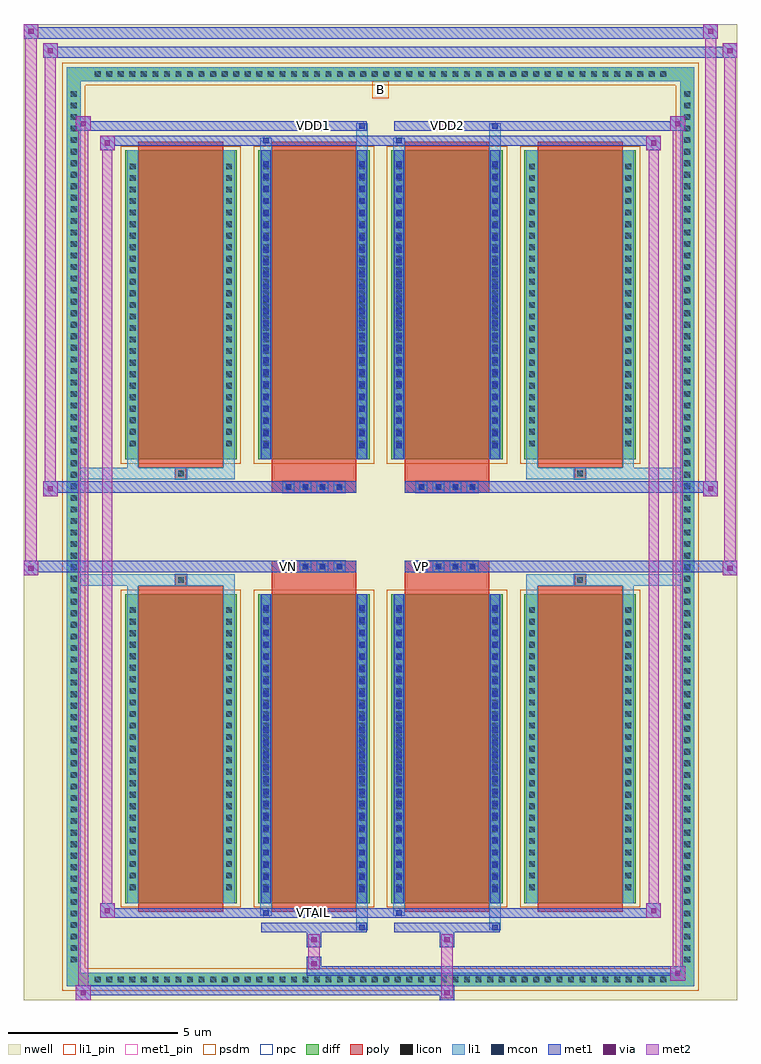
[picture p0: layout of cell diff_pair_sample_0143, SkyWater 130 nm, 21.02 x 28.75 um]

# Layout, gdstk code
import gdstk
lib = gdstk.Library(unit=1e-6, precision=5e-09)
def R(c, l, rs):  # rectangles x0, y0, x1, y1
    for r in rs: c.add(gdstk.rectangle(r[:2], r[2:], *l))
def A(c, l, x, y, w, h, nx, ny, dx, dy):  # array of equal rectangles
    R(c, l, [(x+i*dx, y+j*dy, x+i*dx+w, y+j*dy+h) for i in range(nx) for j in range(ny)])
def P(c, l, *ps):  # polygons
    for p in ps: c.add(gdstk.Polygon(p, *l))
nwell = (64, 20)
diff = (65, 20)
poly = (66, 20)
licon = (66, 44)
li1_pin = (67, 16)
li1 = (67, 20)
mcon = (67, 44)
met1_pin = (68, 16)
met1 = (68, 20)
via = (68, 44)
met2 = (69, 20)
psdm = (94, 20)
npc = (95, 20)

diff_pair_sample_0143 = lib.new_cell('diff_pair_sample_0143')
R(diff_pair_sample_0143, nwell, [(-10.51,-13.94,10.51,14.81), (-7.83,-12.13,-0.01,-0.805), (0.01,-12.13,7.83,-0.805), (-7.83,0.805,-0.01,12.13), (0.01,0.805,7.83,12.13)])
A(diff_pair_sample_0143, diff, -8.535, -13.54, 0.41, 0.41, 50, 2, 0.34, 26.67)
A(diff_pair_sample_0143, diff, -9.24, -12.955, 0.41, 0.41, 1, 76, 0, 0.34)
A(diff_pair_sample_0143, diff, 8.83, -12.955, 0.41, 0.41, 1, 76, 0, 0.34)
A(diff_pair_sample_0143, diff, -7.52, -11.085, 3.28, 9.1, 4, 2, 3.92, 13.07)
R(diff_pair_sample_0143, diff, [(-8.535,-13.54,8.535,-13.13), (-9.24,-12.955,-8.83,12.955), (8.83,-12.955,9.24,12.955), (-8.535,13.13,8.535,13.54)])
P(diff_pair_sample_0143, diff, [(9.24,13.54),(-9.24,13.54),(-9.24,-13.13),(-8.83,-13.13),(-8.83,13.13),(8.83,13.13),(8.83,-13.13),(-8.83,-13.13),(-9.24,-13.13),(-9.24,-13.54),(9.24,-13.54)])
A(diff_pair_sample_0143, poly, -7.13, -11.335, 2.5, 9.6, 4, 2, 3.92, 13.07)
A(diff_pair_sample_0143, poly, -2.875, -1.335, 0.33, 0.33, 4, 2, 0.5, 2.34)
A(diff_pair_sample_0143, poly, 1.045, -1.335, 0.33, 0.33, 4, 2, 0.5, 2.34)
R(diff_pair_sample_0143, poly, [(-6.045,-1.735,-5.715,-1.405), (-6.045,-1.735,-5.715,-1.405), (-3.21,-1.735,-0.71,-1.335), (0.71,-1.735,3.21,-1.335), (5.715,-1.735,6.045,-1.405), (5.715,-1.735,6.045,-1.405), (-3.21,-1.335,-0.71,-1.005), (0.71,-1.335,3.21,-1.005), (-3.21,1.005,-0.71,1.335), (0.71,1.005,3.21,1.335), (-3.21,1.335,-0.71,1.735), (0.71,1.335,3.21,1.735), (-6.045,1.405,-5.715,1.735), (-6.045,1.405,-5.715,1.735), (5.715,1.405,6.045,1.735), (5.715,1.405,6.045,1.735)])
A(diff_pair_sample_0143, licon, -8.415, -13.42, 0.17, 0.17, 50, 2, 0.34, 26.67)
A(diff_pair_sample_0143, licon, -9.12, -12.835, 0.17, 0.17, 1, 76, 0, 0.34)
A(diff_pair_sample_0143, licon, 8.95, -12.835, 0.17, 0.17, 1, 76, 0, 0.34)
A(diff_pair_sample_0143, licon, -7.38, -10.7, 0.17, 0.17, 1, 25, 0, 0.34)
A(diff_pair_sample_0143, licon, -4.55, -10.7, 0.17, 0.17, 1, 25, 0, 0.34)
A(diff_pair_sample_0143, licon, -3.46, -10.7, 0.17, 0.17, 1, 25, 0, 0.34)
A(diff_pair_sample_0143, licon, -0.63, -10.7, 0.17, 0.17, 1, 25, 0, 0.34)
A(diff_pair_sample_0143, licon, 0.46, -10.7, 0.17, 0.17, 1, 25, 0, 0.34)
A(diff_pair_sample_0143, licon, 3.29, -10.7, 0.17, 0.17, 1, 25, 0, 0.34)
A(diff_pair_sample_0143, licon, 4.38, -10.7, 0.17, 0.17, 1, 25, 0, 0.34)
A(diff_pair_sample_0143, licon, 7.21, -10.7, 0.17, 0.17, 1, 25, 0, 0.34)
A(diff_pair_sample_0143, licon, -2.795, -1.255, 0.17, 0.17, 4, 2, 0.5, 2.34)
A(diff_pair_sample_0143, licon, 1.125, -1.255, 0.17, 0.17, 4, 2, 0.5, 2.34)
A(diff_pair_sample_0143, licon, -7.38, 2.37, 0.17, 0.17, 1, 25, 0, 0.34)
A(diff_pair_sample_0143, licon, -4.55, 2.37, 0.17, 0.17, 1, 25, 0, 0.34)
A(diff_pair_sample_0143, licon, -3.46, 2.37, 0.17, 0.17, 1, 25, 0, 0.34)
A(diff_pair_sample_0143, licon, -0.63, 2.37, 0.17, 0.17, 1, 25, 0, 0.34)
A(diff_pair_sample_0143, licon, 0.46, 2.37, 0.17, 0.17, 1, 25, 0, 0.34)
A(diff_pair_sample_0143, licon, 3.29, 2.37, 0.17, 0.17, 1, 25, 0, 0.34)
A(diff_pair_sample_0143, licon, 4.38, 2.37, 0.17, 0.17, 1, 25, 0, 0.34)
A(diff_pair_sample_0143, licon, 7.21, 2.37, 0.17, 0.17, 1, 25, 0, 0.34)
R(diff_pair_sample_0143, licon, [(-5.965,-1.655,-5.795,-1.485), (5.795,-1.655,5.965,-1.485), (-5.965,1.485,-5.795,1.655), (5.795,1.485,5.965,1.655)])
R(diff_pair_sample_0143, li1_pin, [(-0.25,12.63,0.25,13.13)])
A(diff_pair_sample_0143, li1, -8.495, -13.5, 0.33, 0.33, 50, 2, 0.34, 26.67)
A(diff_pair_sample_0143, li1, -9.2, -12.915, 0.33, 0.33, 1, 76, 0, 0.34)
A(diff_pair_sample_0143, li1, 8.87, -12.915, 0.33, 0.33, 1, 76, 0, 0.34)
A(diff_pair_sample_0143, li1, -7.46, -10.78, 0.33, 0.33, 1, 25, 0, 0.34)
A(diff_pair_sample_0143, li1, -4.63, -10.78, 0.33, 0.33, 1, 25, 0, 0.34)
A(diff_pair_sample_0143, li1, -3.54, -10.78, 0.33, 0.33, 1, 25, 0, 0.34)
A(diff_pair_sample_0143, li1, -0.71, -10.78, 0.33, 0.33, 1, 25, 0, 0.34)
A(diff_pair_sample_0143, li1, 0.38, -10.78, 0.33, 0.33, 1, 25, 0, 0.34)
A(diff_pair_sample_0143, li1, 3.21, -10.78, 0.33, 0.33, 1, 25, 0, 0.34)
A(diff_pair_sample_0143, li1, 4.3, -10.78, 0.33, 0.33, 1, 25, 0, 0.34)
A(diff_pair_sample_0143, li1, 7.13, -10.78, 0.33, 0.33, 1, 25, 0, 0.34)
A(diff_pair_sample_0143, li1, -3.46, -10.76, 0.17, 0.17, 1, 24, 0, 0.36)
A(diff_pair_sample_0143, li1, -0.63, -10.76, 0.17, 0.17, 1, 24, 0, 0.36)
A(diff_pair_sample_0143, li1, 0.46, -10.76, 0.17, 0.17, 1, 24, 0, 0.36)
A(diff_pair_sample_0143, li1, 3.29, -10.76, 0.17, 0.17, 1, 24, 0, 0.36)
A(diff_pair_sample_0143, li1, -2.875, -1.335, 0.33, 0.33, 4, 2, 0.5, 2.34)
A(diff_pair_sample_0143, li1, 1.045, -1.335, 0.33, 0.33, 4, 2, 0.5, 2.34)
A(diff_pair_sample_0143, li1, -7.46, 2.29, 0.33, 0.33, 1, 25, 0, 0.34)
A(diff_pair_sample_0143, li1, -4.63, 2.29, 0.33, 0.33, 1, 25, 0, 0.34)
A(diff_pair_sample_0143, li1, -3.54, 2.29, 0.33, 0.33, 1, 25, 0, 0.34)
A(diff_pair_sample_0143, li1, -0.71, 2.29, 0.33, 0.33, 1, 25, 0, 0.34)
A(diff_pair_sample_0143, li1, 0.38, 2.29, 0.33, 0.33, 1, 25, 0, 0.34)
A(diff_pair_sample_0143, li1, 3.21, 2.29, 0.33, 0.33, 1, 25, 0, 0.34)
A(diff_pair_sample_0143, li1, 4.3, 2.29, 0.33, 0.33, 1, 25, 0, 0.34)
A(diff_pair_sample_0143, li1, 7.13, 2.29, 0.33, 0.33, 1, 25, 0, 0.34)
A(diff_pair_sample_0143, li1, -3.46, 2.31, 0.17, 0.17, 1, 24, 0, 0.36)
A(diff_pair_sample_0143, li1, -0.63, 2.31, 0.17, 0.17, 1, 24, 0, 0.36)
A(diff_pair_sample_0143, li1, 0.46, 2.31, 0.17, 0.17, 1, 24, 0, 0.36)
A(diff_pair_sample_0143, li1, 3.29, 2.31, 0.17, 0.17, 1, 24, 0, 0.36)
R(diff_pair_sample_0143, li1, [(-9.24,-13.54,-8.83,-13.13), (-9.24,-13.54,-8.83,-13.13), (-8.83,-13.54,8.83,-13.13), (8.83,-13.54,9.24,-13.13), (8.83,-13.54,9.24,-13.13), (-9.24,-13.13,-8.83,13.13), (8.83,-13.13,9.24,13.13), (-0.71,-11.89,-0.38,-11.085), (-0.63,-11.89,-0.46,-11.72), (3.21,-11.89,3.54,-11.085), (3.29,-11.89,3.46,-11.72), (-3.54,-11.46,-3.21,-11.085), (-3.46,-11.46,-3.29,-11.29), (0.38,-11.46,0.71,-11.085), (0.46,-11.46,0.63,-11.29), (-7.46,-11.085,-7.13,-1.985), (-4.63,-11.085,-4.3,-1.985), (-3.54,-11.085,-3.21,-1.985), (-0.71,-11.085,-0.38,-1.985), (0.38,-11.085,0.71,-1.985), (3.21,-11.085,3.54,-1.985), (4.3,-11.085,4.63,-1.985), (7.13,-11.085,7.46,-1.985), (-3.46,-10.76,-3.29,-2.31), (-0.63,-10.76,-0.46,-2.31), (0.46,-10.76,0.63,-2.31), (3.29,-10.76,3.46,-2.31), (-7.46,-1.985,-7.13,-1.405), (-4.63,-1.985,-4.3,-1.405), (4.3,-1.985,4.63,-1.405), (7.13,-1.985,7.46,-1.405), (-9.24,-1.735,-6.045,-1.405), (-7.46,-1.735,-6.045,-1.405), (-6.045,-1.735,-5.715,-1.405), (-5.715,-1.735,-4.3,-1.405), (4.3,-1.735,5.715,-1.405), (5.715,-1.735,6.045,-1.405), (5.715,-1.735,9.24,-1.405), (6.045,-1.735,7.46,-1.405), (-9.24,1.405,-6.045,1.735), (-7.46,1.405,-6.045,1.735), (-7.46,1.405,-7.13,1.985), (-6.045,1.405,-5.715,1.735), (-5.715,1.405,-4.3,1.735), (-4.63,1.405,-4.3,1.985), (4.3,1.405,5.715,1.735), (4.3,1.405,4.63,1.985), (5.715,1.405,6.045,1.735), (5.715,1.405,9.24,1.735), (6.045,1.405,7.46,1.735), (7.13,1.405,7.46,1.985), (-7.46,1.985,-7.13,11.085), (-4.63,1.985,-4.3,11.085), (-3.54,1.985,-3.21,11.085), (-0.71,1.985,-0.38,11.085), (0.38,1.985,0.71,11.085), (3.21,1.985,3.54,11.085), (4.3,1.985,4.63,11.085), (7.13,1.985,7.46,11.085), (-3.46,2.31,-3.29,10.76), (-0.63,2.31,-0.46,10.76), (0.46,2.31,0.63,10.76), (3.29,2.31,3.46,10.76), (-3.54,11.085,-3.21,11.46), (-0.71,11.085,-0.38,11.89), (0.38,11.085,0.71,11.46), (3.21,11.085,3.54,11.89), (-3.46,11.29,-3.29,11.46), (0.46,11.29,0.63,11.46), (-0.63,11.72,-0.46,11.89), (3.29,11.72,3.46,11.89), (-9.24,13.13,-8.83,13.54), (-9.24,13.13,-8.83,13.54), (-8.83,13.13,8.83,13.54), (8.83,13.13,9.24,13.54), (8.83,13.13,9.24,13.54)])
A(diff_pair_sample_0143, mcon, -3.46, -10.76, 0.17, 0.17, 1, 24, 0, 0.36)
A(diff_pair_sample_0143, mcon, -0.63, -10.76, 0.17, 0.17, 1, 24, 0, 0.36)
A(diff_pair_sample_0143, mcon, 0.46, -10.76, 0.17, 0.17, 1, 24, 0, 0.36)
A(diff_pair_sample_0143, mcon, 3.29, -10.76, 0.17, 0.17, 1, 24, 0, 0.36)
A(diff_pair_sample_0143, mcon, -2.795, -1.255, 0.17, 0.17, 4, 2, 0.5, 2.34)
A(diff_pair_sample_0143, mcon, 1.125, -1.255, 0.17, 0.17, 4, 2, 0.5, 2.34)
A(diff_pair_sample_0143, mcon, -3.46, 2.31, 0.17, 0.17, 1, 24, 0, 0.36)
A(diff_pair_sample_0143, mcon, -0.63, 2.31, 0.17, 0.17, 1, 24, 0, 0.36)
A(diff_pair_sample_0143, mcon, 0.46, 2.31, 0.17, 0.17, 1, 24, 0, 0.36)
A(diff_pair_sample_0143, mcon, 3.29, 2.31, 0.17, 0.17, 1, 24, 0, 0.36)
R(diff_pair_sample_0143, mcon, [(-0.63,-11.89,-0.46,-11.72), (3.29,-11.89,3.46,-11.72), (-3.46,-11.46,-3.29,-11.29), (0.46,-11.46,0.63,-11.29), (-3.46,11.29,-3.29,11.46), (0.46,11.29,0.63,11.46), (-0.63,11.72,-0.46,11.89), (3.29,11.72,3.46,11.89)])
R(diff_pair_sample_0143, met1_pin, [(-2.095,-11.5,-1.825,-11.23), (-2.845,-1.295,-2.575,-1.025), (1.075,-1.295,1.345,-1.025), (-2.095,11.68,-1.825,11.95), (1.825,11.68,2.095,11.95)])
A(diff_pair_sample_0143, met1, -3.52, -10.82, 0.29, 0.29, 1, 24, 0, 0.36)
A(diff_pair_sample_0143, met1, -0.69, -10.82, 0.29, 0.29, 1, 24, 0, 0.36)
A(diff_pair_sample_0143, met1, 0.4, -10.82, 0.29, 0.29, 1, 24, 0, 0.36)
A(diff_pair_sample_0143, met1, 3.23, -10.82, 0.29, 0.29, 1, 24, 0, 0.36)
A(diff_pair_sample_0143, met1, -2.855, -1.315, 0.29, 0.29, 4, 2, 0.5, 2.34)
A(diff_pair_sample_0143, met1, 1.065, -1.315, 0.29, 0.29, 4, 2, 0.5, 2.34)
A(diff_pair_sample_0143, met1, -3.52, 2.25, 0.29, 0.29, 1, 24, 0, 0.36)
A(diff_pair_sample_0143, met1, -0.69, 2.25, 0.29, 0.29, 1, 24, 0, 0.36)
A(diff_pair_sample_0143, met1, 0.4, 2.25, 0.29, 0.29, 1, 24, 0, 0.36)
A(diff_pair_sample_0143, met1, 3.23, 2.25, 0.29, 0.29, 1, 24, 0, 0.36)
R(diff_pair_sample_0143, met1, [(-8.97,-13.94,-8.54,-13.51), (1.745,-13.94,2.175,-13.51), (-8.97,-13.8,2.175,-13.51), (8.54,-13.37,8.97,-12.94), (-2.175,-13.23,8.97,-12.94), (-2.175,-13.09,-1.745,-12.66), (-2.175,-12.38,-1.745,-11.95), (1.745,-12.38,2.175,-11.95), (-3.52,-11.95,-0.4,-11.66), (-0.69,-11.95,-0.4,-11.66), (0.4,-11.95,3.52,-11.66), (3.23,-11.95,3.52,-11.66), (-8.26,-11.52,-7.83,-11.09), (-8.26,-11.52,-3.52,-11.23), (-3.52,-11.52,-3.23,-11.23), (-3.52,-11.52,-0.4,-11.23), (-0.4,-11.52,0.4,-11.23), (0.4,-11.52,0.69,-11.23), (0.4,-11.52,3.52,-11.23), (3.52,-11.52,8.26,-11.23), (7.83,-11.52,8.26,-11.09), (-3.52,-11.085,-3.23,-1.985), (-0.69,-11.085,-0.4,-1.985), (0.4,-11.085,0.69,-1.985), (3.23,-11.085,3.52,-1.985), (-10.51,-1.435,-10.08,-1.005), (10.08,-1.435,10.51,-1.005), (-10.51,-1.335,-0.71,-1.005), (-3.21,-1.335,-0.71,-1.005), (0.71,-1.335,3.21,-1.005), (0.71,-1.335,10.51,-1.005), (-9.94,0.905,-9.51,1.335), (9.51,0.905,9.94,1.335), (-9.94,1.005,-3.21,1.335), (-3.21,1.005,-0.71,1.335), (0.71,1.005,3.21,1.335), (3.21,1.005,9.94,1.335), (-3.52,1.985,-3.23,11.085), (-0.69,1.985,-0.4,11.085), (0.4,1.985,0.69,11.085), (3.23,1.985,3.52,11.085), (-8.26,11.09,-7.83,11.52), (7.83,11.09,8.26,11.52), (-8.26,11.23,-3.52,11.52), (-3.52,11.23,-3.23,11.52), (-3.52,11.23,-0.4,11.52), (-0.4,11.23,0.4,11.52), (0.4,11.23,0.69,11.52), (0.4,11.23,3.52,11.52), (3.52,11.23,8.26,11.52), (-8.97,11.66,-8.54,12.09), (-8.97,11.66,-3.52,11.95), (-3.52,11.66,-0.4,11.95), (-0.69,11.66,-0.4,11.95), (0.4,11.66,3.52,11.95), (3.23,11.66,3.52,11.95), (3.52,11.66,8.97,11.95), (8.54,11.66,8.97,12.09), (-9.94,13.81,-9.51,14.24), (-9.94,13.81,-7.83,14.14), (-7.83,13.81,7.83,14.14), (7.83,13.81,10.51,14.14), (10.08,13.81,10.51,14.24), (-10.51,14.38,-10.08,14.81), (-10.51,14.38,-7.83,14.71), (-7.83,14.38,7.83,14.71), (7.83,14.38,9.94,14.71), (9.51,14.38,9.94,14.81)])
R(diff_pair_sample_0143, via, [(-8.83,-13.8,-8.68,-13.65), (1.885,-13.8,2.035,-13.65), (8.68,-13.23,8.83,-13.08), (-2.035,-12.95,-1.885,-12.8), (-2.035,-12.24,-1.885,-12.09), (1.885,-12.24,2.035,-12.09), (-8.12,-11.38,-7.97,-11.23), (7.97,-11.38,8.12,-11.23), (-10.37,-1.295,-10.22,-1.145), (10.22,-1.295,10.37,-1.145), (-9.8,1.045,-9.65,1.195), (9.65,1.045,9.8,1.195), (-8.12,11.23,-7.97,11.38), (7.97,11.23,8.12,11.38), (-8.83,11.8,-8.68,11.95), (8.68,11.8,8.83,11.95), (-9.8,13.95,-9.65,14.1), (10.22,13.95,10.37,14.1), (-10.37,14.52,-10.22,14.67), (9.65,14.52,9.8,14.67)])
R(diff_pair_sample_0143, met2, [(-8.97,-13.94,-8.54,-13.51), (-8.9,-13.94,-8.61,12.09), (-8.61,-13.94,-8.54,-13.51), (-8.92,-13.89,-8.59,-13.56), (1.795,-13.89,2.125,-13.56), (1.795,-13.56,2.125,-12.33), (8.54,-13.37,8.97,-12.94), (8.61,-13.37,8.9,12.09), (8.9,-13.37,8.97,-12.94), (8.59,-13.32,8.92,-12.99), (-2.125,-13.04,-1.795,-12.71), (-2.125,-12.71,-1.795,-12.33), (-2.125,-12.33,-1.795,-12), (1.795,-12.33,2.125,-12), (-8.26,-11.52,-7.83,-11.09), (-8.19,-11.52,-7.9,11.52), (-7.9,-11.52,-7.83,-11.09), (7.83,-11.52,8.26,-11.09), (7.9,-11.52,8.19,11.52), (8.19,-11.52,8.26,-11.09), (-8.21,-11.47,-7.88,-11.14), (7.88,-11.47,8.21,-11.14), (-10.51,-1.435,-10.08,-1.005), (-10.46,-1.435,-10.13,14.81), (-10.13,-1.435,-10.08,-1.005), (10.08,-1.435,10.51,-1.005), (10.13,-1.435,10.46,14.24), (10.46,-1.435,10.51,-1.005), (-10.46,-1.385,-10.13,-1.055), (10.13,-1.385,10.46,-1.055), (-9.94,0.905,-9.51,1.335), (-9.89,0.905,-9.56,14.24), (-9.56,0.905,-9.51,1.335), (9.51,0.905,9.94,1.335), (9.56,0.905,9.89,14.81), (9.89,0.905,9.94,1.335), (-9.89,0.955,-9.56,1.285), (9.56,0.955,9.89,1.285), (-8.26,11.09,-7.83,11.52), (-7.9,11.09,-7.83,11.52), (7.83,11.09,8.26,11.52), (8.19,11.09,8.26,11.52), (-8.21,11.14,-7.88,11.47), (7.88,11.14,8.21,11.47), (-8.97,11.66,-8.54,12.09), (-8.61,11.66,-8.54,12.09), (8.54,11.66,8.97,12.09), (8.9,11.66,8.97,12.09), (-8.92,11.71,-8.59,12.04), (8.59,11.71,8.92,12.04), (-9.94,13.81,-9.51,14.24), (-9.56,13.81,-9.51,14.24), (10.08,13.81,10.51,14.24), (10.46,13.81,10.51,14.24), (-9.89,13.86,-9.56,14.19), (10.13,13.86,10.46,14.19), (-10.51,14.38,-10.08,14.81), (-10.13,14.38,-10.08,14.81), (9.51,14.38,9.94,14.81), (9.89,14.38,9.94,14.81), (-10.46,14.43,-10.13,14.76), (9.56,14.43,9.89,14.76)])
A(diff_pair_sample_0143, psdm, -7.65, -11.215, 3.54, 9.36, 4, 2, 3.92, 13.07)
P(diff_pair_sample_0143, psdm, [(9.37,13.67),(-9.37,13.67),(-9.37,-13),(-8.7,-13),(-8.7,13),(8.7,13),(8.7,-13),(-8.7,-13),(-9.37,-13),(-9.37,-13.67),(9.37,-13.67)])
A(diff_pair_sample_0143, npc, -2.895, -1.355, 0.37, 0.37, 4, 2, 0.5, 2.34)
A(diff_pair_sample_0143, npc, 1.025, -1.355, 0.37, 0.37, 4, 2, 0.5, 2.34)
R(diff_pair_sample_0143, npc, [(-6.065,-1.755,-5.695,-1.385), (5.695,-1.755,6.065,-1.385), (-2.895,-1.355,-2.025,-0.985), (-2.895,-1.355,-2.025,-0.985), (-2.395,-1.355,-1.525,-0.985), (-2.395,-1.355,-1.525,-0.985), (-1.895,-1.355,-1.025,-0.985), (-1.895,-1.355,-1.025,-0.985), (1.025,-1.355,1.895,-0.985), (1.025,-1.355,1.895,-0.985), (1.525,-1.355,2.395,-0.985), (1.525,-1.355,2.395,-0.985), (2.025,-1.355,2.895,-0.985), (2.025,-1.355,2.895,-0.985), (-2.895,0.985,-2.025,1.355), (-2.895,0.985,-2.025,1.355), (-2.395,0.985,-1.525,1.355), (-2.395,0.985,-1.525,1.355), (-1.895,0.985,-1.025,1.355), (-1.895,0.985,-1.025,1.355), (1.025,0.985,1.895,1.355), (1.025,0.985,1.895,1.355), (1.525,0.985,2.395,1.355), (1.525,0.985,2.395,1.355), (2.025,0.985,2.895,1.355), (2.025,0.985,2.895,1.355), (-6.065,1.385,-5.695,1.755), (5.695,1.385,6.065,1.755)])
diff_pair_sample_0143.add(gdstk.Label('VTAIL', (-1.96,-11.365), layer=68, texttype=5))
diff_pair_sample_0143.add(gdstk.Label('VN', (-2.71,-1.16), layer=68, texttype=5))
diff_pair_sample_0143.add(gdstk.Label('VP', (1.21,-1.16), layer=68, texttype=5))
diff_pair_sample_0143.add(gdstk.Label('B', (0,12.88), layer=67, texttype=5))
diff_pair_sample_0143.add(gdstk.Label('VDD2', (1.96,11.815), layer=68, texttype=5))
diff_pair_sample_0143.add(gdstk.Label('VDD1', (-1.96,11.815), layer=68, texttype=5))

lib.write_gds('diff_pair_sample_0143.gds')
